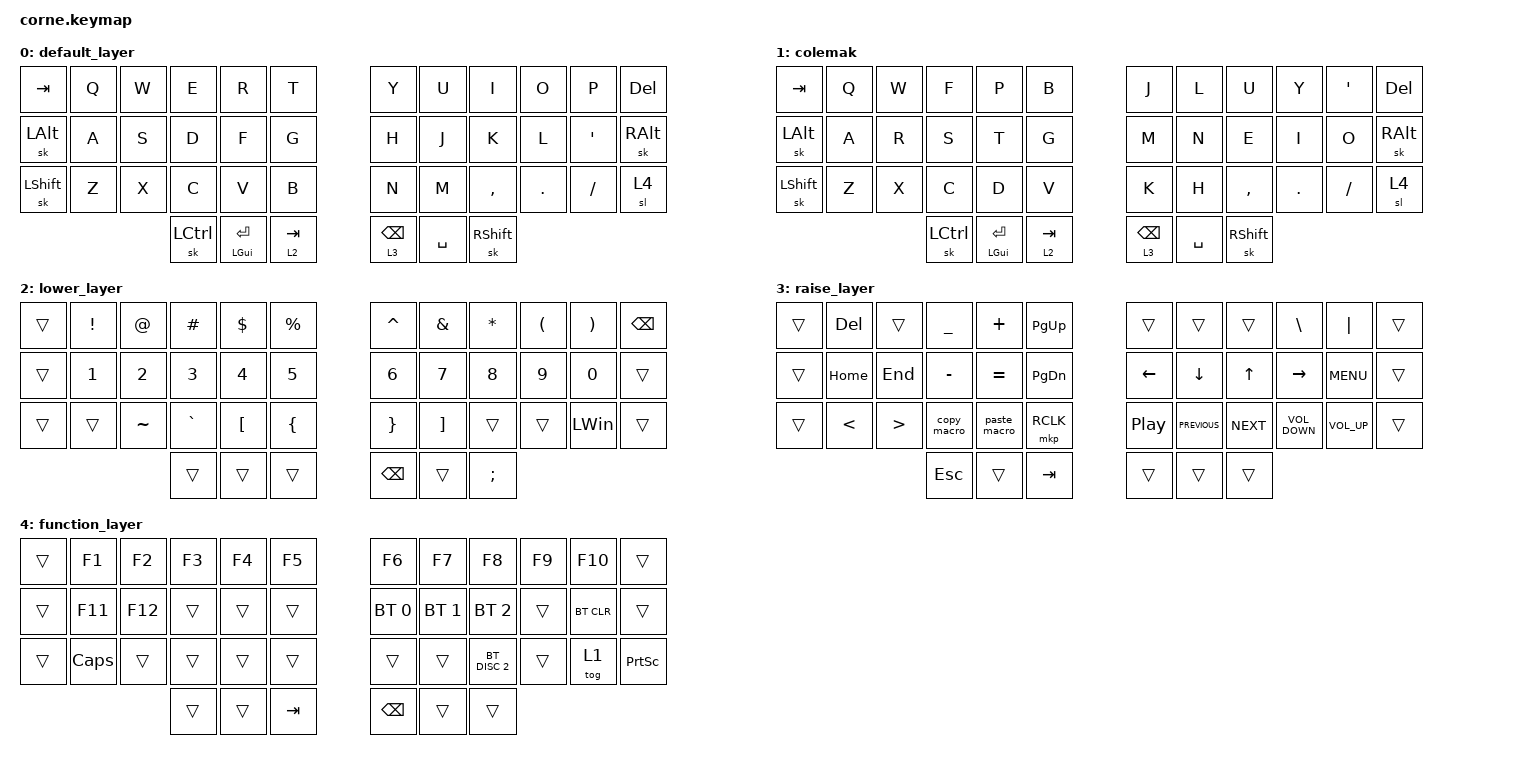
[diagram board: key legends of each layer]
#include <behaviors.dtsi>
#include <dt-bindings/zmk/bt.h>
#include <dt-bindings/zmk/keys.h>
#include <dt-bindings/zmk/mouse.h>

/ {
    combos { compatible = "zmk,combos";
    combo_esc {
                timeout-ms = <50>; // Time window to press both keys
                key-positions = <19 20>; // Replace with actual key positions
                bindings = <&kp ESC>;
            };
        };

    macros {
        copy_macro: copy_macro {
            compatible = "zmk,behavior-macro";
            #binding-cells = <0>;
            bindings = <
                &macro_press &kp LCTRL
                &macro_tap &kp INSERT
                &macro_release &kp LCTRL
            >;
        };

        paste_macro: paste_macro {
            compatible = "zmk,behavior-macro";
            #binding-cells = <0>;
            bindings = <
                &macro_press &kp LSHIFT
                &macro_tap &kp INSERT
                &macro_release &kp LSHIFT
            >;
        };
    };


    keymap {
        compatible = "zmk,keymap";

        default_layer {
            bindings = <
&kp TAB    &kp Q  &kp W  &kp E      &kp R               &kp T         &kp Y            &kp U      &kp I            &kp O    &kp P             &kp DELETE
&sk LALT   &kp A  &kp S  &kp D      &kp F               &kp G         &kp H            &kp J      &kp K            &kp L    &kp SINGLE_QUOTE  &sk RIGHT_ALT
&sk LSHFT  &kp Z  &kp X  &kp C      &kp V               &kp B         &kp N            &kp M      &kp COMMA        &kp DOT  &kp FSLH          &sl 4
                         &sk LCTRL  &mt LEFT_GUI ENTER  &lt 2 TAB     &lt 3 BACKSPACE      &kp SPACE  &sk RIGHT_SHIFT
            >;
        };

        colemak {
            bindings = <
&kp TAB    &kp Q  &kp W  &kp F      &kp P               &kp B         &kp J            &kp L      &kp U            &kp Y    &kp SINGLE_QUOTE  &kp DELETE
&sk LALT   &kp A  &kp R  &kp S      &kp T               &kp G         &kp M            &kp N      &kp E            &kp I    &kp O             &sk RIGHT_ALT
&sk LSHFT  &kp Z  &kp X  &kp C      &kp D               &kp V         &kp K            &kp H      &kp COMMA        &kp DOT  &kp FSLH          &sl 4
                         &sk LCTRL  &mt LEFT_GUI ENTER  &lt 2 TAB     &lt 3 BACKSPACE  &kp SPACE  &sk RIGHT_SHIFT
            >;
        };

        lower_layer {
            bindings = <
&trans  &kp EXCLAMATION  &kp AT_SIGN   &kp POUND     &kp DOLLAR        &kp PERCENT       &kp CARET        &kp AMPERSAND      &kp ASTERISK  &kp LEFT_PARENTHESIS  &kp RIGHT_PARENTHESIS  &kp BSPC
&trans  &kp NUMBER_1     &kp NUMBER_2  &kp NUMBER_3  &kp NUMBER_4      &kp NUMBER_5      &kp NUMBER_6     &kp NUMBER_7       &kp NUMBER_8  &kp NUMBER_9          &kp NUMBER_0           &trans
&trans  &trans        &kp TILDE     &kp GRAVE     &kp LEFT_BRACKET  &kp LEFT_BRACE    &kp RIGHT_BRACE  &kp RIGHT_BRACKET  &trans        &trans                &kp LEFT_WIN           &trans
                                       &trans        &trans            &trans            &kp BACKSPACE         &trans             &kp SEMICOLON
            >;
        };

        raise_layer {
            bindings = <
&trans  &kp DELETE     &trans            &kp UNDERSCORE  &kp PLUS     &kp PAGE_UP      &trans            &trans          &trans        &kp BACKSLASH      &kp PIPE         &trans
&trans  &kp HOME       &kp END           &kp MINUS       &kp EQUAL    &kp PAGE_DOWN    &kp LEFT          &kp DOWN        &kp UP_ARROW  &kp RIGHT          &kp K_MENU       &trans
&trans  &kp LESS_THAN  &kp GREATER_THAN  &copy_macro   &paste_macro &mkp RCLK   &kp C_PLAY_PAUSE  &kp C_PREVIOUS  &kp C_NEXT    &kp C_VOLUME_DOWN  &kp C_VOLUME_UP  &trans
                                         &kp ESCAPE      &trans       &kp TAB          &trans            &trans          &trans
            >;
        };

        function_layer {
            bindings = <
&trans  &kp F1    &kp F2   &kp F3  &kp F4  &kp F5      &kp F6         &kp F7        &kp F8         &kp F9  &kp F10     &trans
&trans  &kp F11   &kp F12  &trans  &trans  &trans      &bt BT_SEL 0   &bt BT_SEL 1  &bt BT_SEL 2   &trans  &bt BT_CLR  &trans
&trans  &kp CAPS  &trans   &trans  &trans  &trans      &trans         &trans        &bt BT_DISC 2  &trans  &tog 1      &kp PRINTSCREEN
                           &trans  &trans  &kp TAB     &kp BACKSPACE      &trans        &trans
            >;
        };
    };
};
